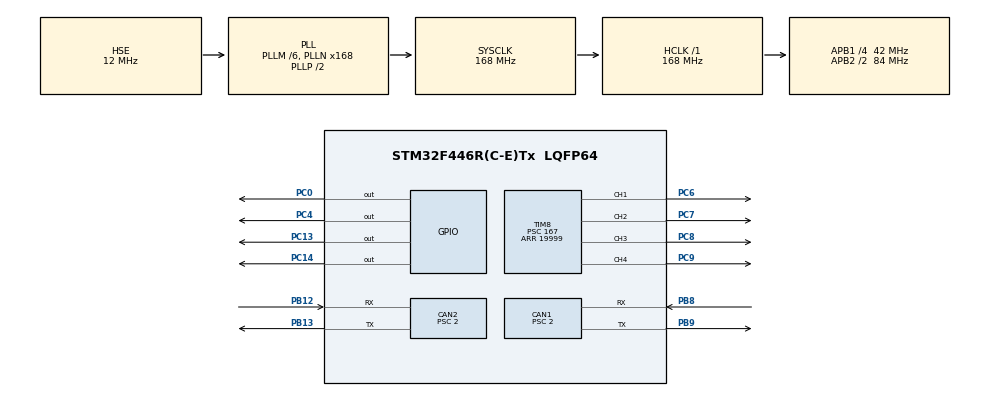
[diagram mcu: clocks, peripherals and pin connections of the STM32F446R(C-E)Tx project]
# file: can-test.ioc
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CAN1.BS1=CAN_BS1_15TQ
CAN1.BS2=CAN_BS2_5TQ
CAN1.CalculateBaudRate=1000000
CAN1.CalculateTimeBit=1000
CAN1.CalculateTimeQuantum=47.61904761904762
CAN1.NART=ENABLE
CAN1.Prescaler=2
CAN2.BS1=CAN_BS1_15TQ
CAN2.BS2=CAN_BS2_5TQ
CAN2.CalculateBaudRate=1000000
CAN2.CalculateTimeBit=1000
CAN2.CalculateTimeQuantum=47.61904761904762
CAN2.NART=ENABLE
CAN2.Prescaler=2
Mcu.Family=STM32F4
Mcu.Name=STM32F446R(C-E)Tx
Mcu.Package=LQFP64
NVIC.CAN1_RX0_IRQn=true\:0\:0\:false\:false\:true\:true\:true\:true
NVIC.PriorityGroup=NVIC_PRIORITYGROUP_4
PA13.Mode=Serial_Wire
PA13.Signal=SYS_JTMS-SWDIO
PA14.Mode=Serial_Wire
PA14.Signal=SYS_JTCK-SWCLK
PB12.Mode=CAN_Activate
PB12.Signal=CAN2_RX
PB13.Mode=CAN_Activate
PB13.Signal=CAN2_TX
PB8.Mode=CAN_Activate
PB8.Signal=CAN1_RX
PB9.Mode=CAN_Activate
PB9.Signal=CAN1_TX
PC0.PinState=GPIO_PIN_RESET
PC0.Signal=GPIO_Output
PC13.PinState=GPIO_PIN_SET
PC13.Signal=GPIO_Output
PC14-OSC32_IN.PinState=GPIO_PIN_SET
PC14-OSC32_IN.Signal=GPIO_Output
PC4.PinState=GPIO_PIN_SET
PC4.Signal=GPIO_Output
PC6.Signal=S_TIM8_CH1
PC7.Signal=S_TIM8_CH2
PC8.Signal=S_TIM8_CH3
PC9.Signal=S_TIM8_CH4
PH0-OSC_IN.Mode=HSE-External-Oscillator
PH0-OSC_IN.Signal=RCC_OSC_IN
PH1-OSC_OUT.Mode=HSE-External-Oscillator
PH1-OSC_OUT.Signal=RCC_OSC_OUT
ProjectManager.HeapSize=0x200
ProjectManager.StackSize=0x400
ProjectManager.TargetToolchain=STM32CubeIDE
RCC.AHBFreq_Value=168000000
RCC.APB1CLKDivider=RCC_HCLK_DIV4
RCC.APB1Freq_Value=42000000
RCC.APB1TimFreq_Value=84000000
RCC.APB2CLKDivider=RCC_HCLK_DIV2
RCC.APB2Freq_Value=84000000
RCC.APB2TimFreq_Value=168000000
RCC.CortexFreq_Value=168000000
RCC.HCLKFreq_Value=168000000
RCC.HSE_VALUE=12000000
RCC.PLLM=6
RCC.PLLN=168
RCC.PLLSAIM=6
RCC.PLLSAIN=96
RCC.PLLSourceVirtual=RCC_PLLSOURCE_HSE
RCC.SYSCLKFreq_VALUE=168000000
RCC.SYSCLKSource=RCC_SYSCLKSOURCE_PLLCLK
RCC.USBFreq_Value=168000000
RCC.VCOOutputFreq_Value=336000000
SH.S_TIM8_CH1.0=TIM8_CH1,PWM Generation1 CH1
SH.S_TIM8_CH2.0=TIM8_CH2,PWM Generation2 CH2
SH.S_TIM8_CH3.0=TIM8_CH3,PWM Generation3 CH3
SH.S_TIM8_CH4.0=TIM8_CH4,PWM Generation4 CH4
TIM8.Channel-PWM\ Generation1\ CH1=TIM_CHANNEL_1
TIM8.Channel-PWM\ Generation2\ CH2=TIM_CHANNEL_2
TIM8.Channel-PWM\ Generation3\ CH3=TIM_CHANNEL_3
TIM8.Channel-PWM\ Generation4\ CH4=TIM_CHANNEL_4
TIM8.Period=19999
TIM8.Prescaler=167
VP_TIM8_VS_ClockSourceINT.Mode=Internal
board=custom

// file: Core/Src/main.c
/* USER CODE BEGIN Header */
/**
  ******************************************************************************
  * @file           : main.c
  * @brief          : Main program body
  ******************************************************************************
  * @attention
  *
  * Copyright (c) 2023 STMicroelectronics.
  * All rights reserved.
  *
  * This software is licensed under terms that can be found in the LICENSE file
  * in the root directory of this software component.
  * If no LICENSE file comes with this software, it is provided AS-IS.
  *
  ******************************************************************************
  */
/* USER CODE END Header */
#include "main.h"
#include "can.h"
#include "tim.h"
#include "gpio.h"

/* USER CODE BEGIN Includes */
#include "dm_motor.h"
/* USER CODE END Includes */

/* USER CODE BEGIN PV */
struct DM_Motor m4310_01;
struct DM_Motor m4310_02;
struct DM_Motor m4310_03;
struct DM_Motor m4310_04;
struct DM_Motor m4310_05;
struct DM_Motor m4310_06;
struct DM_Motor m4310_07;
struct DM_Motor m4310_08;
struct DM_Motor m4310_09;
/* USER CODE END PV */

void SystemClock_Config(void);
/* USER CODE BEGIN PFP */
void main_handle(void);//没有任何意义，只因while里回车有6个空格不习惯
/* USER CODE END PFP */

int main(void)
{

  /* MCU Configuration--------------------------------------------------------*/

  /* Reset of all peripherals, Initializes the Flash interface and the Systick. */
  HAL_Init();

  /* Configure the system clock */
  SystemClock_Config();

  /* Initialize all configured peripherals */
  MX_GPIO_Init();
  MX_CAN1_Init();
  MX_TIM8_Init();
  MX_CAN2_Init();
  /* USER CODE BEGIN 2 */
    DM_Motor_Init(&m4310_01, 0x01, MIT, -12.5, 12.5, -30, 30, -20, 20); /*1*/
    DM_Motor_Init(&m4310_02, 0x02, MIT, -12.5, 12.5, -30, 30, -20, 20); /*2*/
    DM_Motor_Init(&m4310_03, 0x03, MIT, -12.5, 12.5, -30, 30, -20, 20); /*3*/
    DM_Motor_Init(&m4310_04, 0x04, MIT, -12.5, 12.5, -30, 30, -20, 20); /*2*/
    DM_Motor_Init(&m4310_05, 0x05, MIT, -12.5, 12.5, -30, 30, -20, 20); /*1*/
    DM_Motor_Init(&m4310_06, 0x06, MIT, -12.5, 12.5, -30, 30, -20, 20); /*3*/
    DM_Motor_Init(&m4310_07, 0x07, MIT, -12.5, 12.5, -30, 30, -20, 20);
    DM_Motor_Init(&m4310_08, 0x08, MIT, -12.5, 12.5, -30, 30, -20, 20);
    DM_Motor_Init(&m4310_09, 0x09, MIT, -12.5, 12.5, -30, 30, -20, 20);

    HAL_Delay(3000);
//    DM_Motor_SaveZore(&m4310_02);
//    HAL_Delay(100);
    DM_Motor_Enable(&m4310_01);
    HAL_Delay(1);
    DM_Motor_Enable(&m4310_02);
    HAL_Delay(1);
    DM_Motor_Enable(&m4310_03);
    HAL_Delay(1);
    DM_Motor_Enable(&m4310_04);
    HAL_Delay(1);
    DM_Motor_Enable(&m4310_05);
    HAL_Delay(1);
    DM_Motor_Enable(&m4310_06);
    HAL_Delay(1);
    DM_Motor_Enable(&m4310_07);
    HAL_Delay(1);
    DM_Motor_Enable(&m4310_08);
    HAL_Delay(1);
    DM_Motor_Enable(&m4310_09);
    HAL_Delay(1);

//    HAL_TIM_Base_Start_IT(&htim8);
//    HAL_GPIO_TogglePin(GPIOC, GPIO_PIN_6);
//    HAL_TIM_PWM_Start(&htim8, TIM_CHANNEL_1);/*初始化通道1*/
//    HAL_TIM_PWM_Start(&htim8, TIM_CHANNEL_2);
//    HAL_TIM_PWM_Start(&htim8, TIM_CHANNEL_3);
//    HAL_TIM_PWM_Start(&htim8, TIM_CHANNEL_4);
  /* USER CODE END 2 */

  /* Infinite loop */
  /* USER CODE BEGIN WHILE */
    while (1) {
//        main_handle();
    /* USER CODE END WHILE */

    /* USER CODE BEGIN 3 */
    /*天线往上运动*/
        DM_Motor_MitCtrl(&m4310_01, 0, 4, 0, 0, 1);
        HAL_Delay(1);
        DM_Motor_MitCtrl(&m4310_02, 0, 8, 0, 0, 1);
        HAL_Delay(1);
        DM_Motor_MitCtrl(&m4310_03, 0, 4, 0, 0, 1);
        HAL_Delay(1);
        DM_Motor_MitCtrl(&m4310_04, 0, 12, 0, 0, 1);
        HAL_Delay(1);
        DM_Motor_MitCtrl(&m4310_05, 0, 4, 0, 0, 1);
        HAL_Delay(1);
        DM_Motor_MitCtrl(&m4310_06, 0, 12, 0, 0, 1);

        HAL_Delay(5000);

        /*到达位置停止移动*/
        DM_Motor_MitCtrl(&m4310_01, 0, 0, 0, 0, 1);
        HAL_Delay(1);
        DM_Motor_MitCtrl(&m4310_02, 0, 0, 0, 0, 1);
        HAL_Delay(1);
        DM_Motor_MitCtrl(&m4310_03, 0, 0, 0, 0, 1);
        HAL_Delay(1);
        DM_Motor_MitCtrl(&m4310_04, 0, 0, 0, 0, 1);
        HAL_Delay(1);
        DM_Motor_MitCtrl(&m4310_05, 0, 0, 0, 0, 1);
        HAL_Delay(1);
        DM_Motor_MitCtrl(&m4310_06, 0, 0, 0, 0, 1);

        /*待测物前移*/
        DM_Motor_MitCtrl(&m4310_07, 0, 4, 0, 0, 1);
        HAL_Delay(1);
        DM_Motor_MitCtrl(&m4310_08, 0, 4, 0, 0, 1);
        HAL_Delay(1);
        DM_Motor_MitCtrl(&m4310_09, 0, 4, 0, 0, 1);
        HAL_Delay(5000);

        /*待测物后移*/
        DM_Motor_MitCtrl(&m4310_07, 0, 4, 0, 0, 1);
        HAL_Delay(1);
        DM_Motor_MitCtrl(&m4310_08, 0, 4, 0, 0, 1);
        HAL_Delay(1);
        DM_Motor_MitCtrl(&m4310_09, 0, 4, 0, 0, 1);
        HAL_Delay(5000);

        /*待测物停止*/
        DM_Motor_MitCtrl(&m4310_07, 0, 0, 0, 0, 1);
        HAL_Delay(1);
        DM_Motor_MitCtrl(&m4310_08, 0, 0, 0, 0, 1);
        HAL_Delay(1);
        DM_Motor_MitCtrl(&m4310_09, 0, 0, 0, 0, 1);
        HAL_Delay(100);

        /*天线往下运动*/
        DM_Motor_MitCtrl(&m4310_01, 0, -4, 0, 0, 1);
        HAL_Delay(1);
        DM_Motor_MitCtrl(&m4310_02, 0, -8, 0, 0, 1);
        HAL_Delay(1);
        DM_Motor_MitCtrl(&m4310_03, 0, -12, 0, 0, 1);
        HAL_Delay(1);
        DM_Motor_MitCtrl(&m4310_04, 0, -8, 0, 0, 1);
        HAL_Delay(1);
        DM_Motor_MitCtrl(&m4310_05, 0, -4, 0, 0, 1);
        HAL_Delay(1);
        DM_Motor_MitCtrl(&m4310_06, 0, -12, 0, 0, 1);
        HAL_Delay(6000);

//        DM_Motor_Disable(&m4310_01);
//        HAL_Delay(1);
//        DM_Motor_Disable(&m4310_02);
//        HAL_Delay(1);
//        DM_Motor_Disable(&m4310_03);
//        HAL_Delay(1);
//        DM_Motor_Disable(&m4310_04);
//        HAL_Delay(1);
//        DM_Motor_Disable(&m4310_05);
//        HAL_Delay(1);
//        DM_Motor_Disable(&m4310_06);
//        HAL_Delay(1);

//        int dt1 = 1000;/* dt1=1000ms */
//
//                __HAL_TIM_SetCompare(&htim8, TIM_CHANNEL_1, 500);/* 0 */
//        HAL_Delay(dt1);
//                __HAL_TIM_SetCompare(&htim8, TIM_CHANNEL_1, 2500);/* 180 */
//        HAL_Delay(dt1);

//        HAL_GPIO_WritePin(GPIOC, GPIO_PIN_0, GPIO_PIN_RESET);
//        HAL_Delay(500);
//        HAL_GPIO_WritePin(GPIOC, GPIO_PIN_0, GPIO_PIN_SET);
//        HAL_Delay(500);
//        HAL_GPIO_WritePin(GPIOC, GPIO_PIN_0, GPIO_PIN_RESET);
//        HAL_Delay(200);
//        HAL_GPIO_WritePin(GPIOC, GPIO_PIN_0, GPIO_PIN_SET);
//        HAL_Delay(200);
//        HAL_GPIO_WritePin(GPIOC, GPIO_PIN_0, GPIO_PIN_RESET);
//        HAL_Delay(300);
//        HAL_GPIO_WritePin(GPIOC, GPIO_PIN_0, GPIO_PIN_SET);
//        HAL_Delay(300);
    }
  /* USER CODE END 3 */
}

void SystemClock_Config(void)
{
  RCC_OscInitTypeDef RCC_OscInitStruct = {0};
  RCC_ClkInitTypeDef RCC_ClkInitStruct = {0};

  /** Configure the main internal regulator output voltage
  */
  __HAL_RCC_PWR_CLK_ENABLE();
  __HAL_PWR_VOLTAGESCALING_CONFIG(PWR_REGULATOR_VOLTAGE_SCALE1);

  /** Initializes the RCC Oscillators according to the specified parameters
  * in the RCC_OscInitTypeDef structure.
  */
  RCC_OscInitStruct.OscillatorType = RCC_OSCILLATORTYPE_HSE;
  RCC_OscInitStruct.HSEState = RCC_HSE_ON;
  RCC_OscInitStruct.PLL.PLLState = RCC_PLL_ON;
  RCC_OscInitStruct.PLL.PLLSource = RCC_PLLSOURCE_HSE;
  RCC_OscInitStruct.PLL.PLLM = 6;
  RCC_OscInitStruct.PLL.PLLN = 168;
  RCC_OscInitStruct.PLL.PLLP = RCC_PLLP_DIV2;
  RCC_OscInitStruct.PLL.PLLQ = 2;
  RCC_OscInitStruct.PLL.PLLR = 2;
  if (HAL_RCC_OscConfig(&RCC_OscInitStruct) != HAL_OK)
  {
    Error_Handler();
  }

  /** Initializes the CPU, AHB and APB buses clocks
  */
  RCC_ClkInitStruct.ClockType = RCC_CLOCKTYPE_HCLK|RCC_CLOCKTYPE_SYSCLK
                              |RCC_CLOCKTYPE_PCLK1|RCC_CLOCKTYPE_PCLK2;
  RCC_ClkInitStruct.SYSCLKSource = RCC_SYSCLKSOURCE_PLLCLK;
  RCC_ClkInitStruct.AHBCLKDivider = RCC_SYSCLK_DIV1;
  RCC_ClkInitStruct.APB1CLKDivider = RCC_HCLK_DIV4;
  RCC_ClkInitStruct.APB2CLKDivider = RCC_HCLK_DIV2;

  if (HAL_RCC_ClockConfig(&RCC_ClkInitStruct, FLASH_LATENCY_5) != HAL_OK)
  {
    Error_Handler();
  }
}

/* USER CODE BEGIN 4 */
float dePos = 0;
float deVel = 0;

//uint16_t cnt = 0;
void main_handle(void) {
//    DM_Motor_MitCtrl(&testMotor, dePos, 0, 0, 30, 1);
//    DM_Motor_MitCtrl(&m4310_01, 0, deVel, 0, 0, 2);
//    DM_Motor_MitCtrl(&testMotor, 0, 0, 0.5, 0, 0);
//    DM_Motor_PosVelCtrl(&m4310_01, dePos, deVel);
//    DM_Motor_VelCtrl(&m4310_01, deVel);
//    DM_Motor_MitCtrl(&m4310_02, dePos, 0, 0, 30, 1);

//    HAL_GPIO_TogglePin(LED_GPIO_Port, LED_Pin);
//    cnt++;
//    if (cnt == 20)
//    {
//        DM_Motor_Disable(&m4310_01);
//    }
    HAL_Delay(500);
}

/* 用户重定义can发送接口 */
void DM_Motor_CanSend(uint16_t can_id, uint8_t *data, uint8_t size) {
    CAN_TxHeaderTypeDef txHeader;
    uint32_t mailBox;
    txHeader.StdId = can_id;
    txHeader.IDE = CAN_ID_STD;
    txHeader.RTR = CAN_RTR_DATA;
    txHeader.DLC = size;

    HAL_CAN_AddTxMessage(&hcan2, &txHeader, data, &mailBox);
}

void HAL_CAN_RxFifo0MsgPendingCallback(CAN_HandleTypeDef *hcan) {
    if (hcan == &hcan2) {
        CAN_RxHeaderTypeDef rxHeader;
        uint8_t rxData[8];
        HAL_CAN_GetRxMessage(&hcan2, CAN_RX_FIFO0, &rxHeader, rxData);
        if (rxHeader.StdId == 0) {
            /* 用户调用 */
            DM_Motor_RecieveHandle(rxData);
        }
    }
}
/* USER CODE END 4 */

void Error_Handler(void)
{
    __disable_irq();
    while (1) {
    }
}
